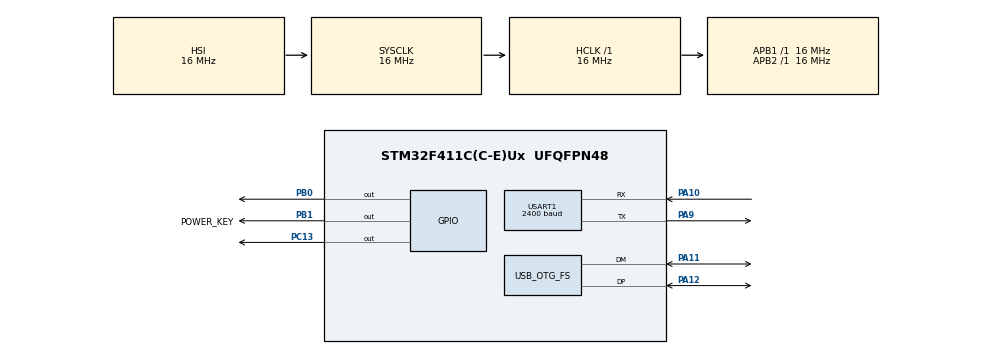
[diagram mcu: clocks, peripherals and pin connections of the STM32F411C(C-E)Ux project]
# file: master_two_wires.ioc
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Mcu.Family=STM32F4
Mcu.Name=STM32F411C(C-E)Ux
Mcu.Package=UFQFPN48
NVIC.FLASH_IRQn=true\:0\:0\:false\:false\:true\:true\:true\:true
NVIC.FPU_IRQn=true\:0\:0\:false\:false\:true\:true\:false\:true
NVIC.OTG_FS_IRQn=true\:0\:0\:false\:false\:true\:false\:true\:true
NVIC.PVD_IRQn=true\:0\:0\:false\:false\:true\:true\:true\:true
NVIC.PriorityGroup=NVIC_PRIORITYGROUP_4
NVIC.RCC_IRQn=true\:0\:0\:false\:false\:true\:true\:false\:true
NVIC.TIM2_IRQn=true\:0\:0\:false\:false\:true\:true\:true\:true
NVIC.USART1_IRQn=true\:2\:0\:true\:false\:true\:true\:true\:true
PA10.Mode=Asynchronous
PA10.Signal=USART1_RX
PA11.Mode=Device_Only
PA11.Signal=USB_OTG_FS_DM
PA12.Mode=Device_Only
PA12.Signal=USB_OTG_FS_DP
PA13.Mode=Serial_Wire
PA13.Signal=SYS_JTMS-SWDIO
PA14.Mode=Serial_Wire
PA14.Signal=SYS_JTCK-SWCLK
PA9.Mode=Asynchronous
PA9.Signal=USART1_TX
PB0.GPIO_ModeDefaultOutputPP=GPIO_MODE_OUTPUT_OD
PB0.GPIO_PuPd=GPIO_NOPULL
PB0.PinState=GPIO_PIN_SET
PB0.Signal=GPIO_Output
PB1.GPIO_Label=POWER_KEY
PB1.Signal=GPIO_Output
PC13-ANTI_TAMP.PinState=GPIO_PIN_RESET
PC13-ANTI_TAMP.Signal=GPIO_Output
PC14-OSC32_IN.Mode=LSE-External-Oscillator
PC14-OSC32_IN.Signal=RCC_OSC32_IN
PC15-OSC32_OUT.Mode=LSE-External-Oscillator
PC15-OSC32_OUT.Signal=RCC_OSC32_OUT
PH0\ -\ OSC_IN.Mode=HSE-External-Oscillator
PH0\ -\ OSC_IN.Signal=RCC_OSC_IN
PH1\ -\ OSC_OUT.Mode=HSE-External-Oscillator
PH1\ -\ OSC_OUT.Signal=RCC_OSC_OUT
ProjectManager.HeapSize=0x200
ProjectManager.StackSize=0x400
ProjectManager.TargetToolchain=STM32CubeIDE
RCC.48MHZClocksFreq_Value=48000000
RCC.AHBFreq_Value=16000000
RCC.APB1Freq_Value=16000000
RCC.APB2Freq_Value=16000000
RCC.CortexFreq_Value=16000000
RCC.HSE_VALUE=25000000
RCC.HSI_VALUE=16000000
RCC.PLLM=15
RCC.PLLN=144
RCC.PLLQ=5
RCC.SYSCLKFreq_VALUE=16000000
RCC.VCOOutputFreq_Value=240000000
TIM2.AutoReloadPreload=TIM_AUTORELOAD_PRELOAD_ENABLE
TIM2.Period=34
TIM2.Prescaler=15
USART1.BaudRate=2400
USART1.VirtualMode=VM_ASYNC
USB_DEVICE.CLASS_NAME_FS=CDC
USB_DEVICE.VirtualMode=Cdc
USB_DEVICE.VirtualModeFS=Cdc_FS
USB_OTG_FS.VirtualMode=Device_Only
VP_TIM2_VS_ClockSourceINT.Mode=Internal
VP_USB_DEVICE_VS_USB_DEVICE_CDC_FS.Mode=CDC_FS
board=custom

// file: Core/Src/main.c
/* USER CODE BEGIN Header */
/**
  ******************************************************************************
  * @file           : main.c
  * @brief          : Main program body
  ******************************************************************************
  * @attention
  *
  * Copyright (c) 2026 STMicroelectronics.
  * All rights reserved.
  *
  * This software is licensed under terms that can be found in the LICENSE file
  * in the root directory of this software component.
  * If no LICENSE file comes with this software, it is provided AS-IS.
  *
  ******************************************************************************
  */
/* USER CODE END Header */
#include "main.h"
#include "usb_device.h"

/* USER CODE BEGIN Includes */
#include <stdint.h>
#include "protocol.h"
#include "comport.h"
#include "ppe3323.h"
#include "power_control.h"
/* USER CODE END Includes */

TIM_HandleTypeDef htim2;

UART_HandleTypeDef huart1;

void SystemClock_Config(void);
static void MX_GPIO_Init(void);
static void MX_TIM2_Init(void);
static void MX_USART1_UART_Init(void);
/* USER CODE BEGIN PFP */
static void process_ppe_command(void);
/* USER CODE END PFP */

/* USER CODE BEGIN 0 */

// ========== Единственный обработчик прерывания таймера 2 ==========
// Вызывается каждые TIMESLOT_US / 2 микросекунд.
// Один логический тайм-слот протокола состоит из двух полутактов таймера.
void HAL_TIM_PeriodElapsedCallback(TIM_HandleTypeDef *htim) {
	protocol_timer_irq_handler(htim);
}

// ========== Завершение неблокирующей передачи PPE-3323 ==========
void HAL_UART_TxCpltCallback(UART_HandleTypeDef *huart)
{
    ppe3323_uart_tx_complete_callback(huart);
}

// ========== Ошибка UART PPE-3323 ==========
void HAL_UART_ErrorCallback(UART_HandleTypeDef *huart)
{
    ppe3323_uart_error_callback(huart);
}

// ========== Обработка подготовленной команды PPE-3323 ==========
static void process_ppe_command(void)
{
	/*
	     * Во время автоматического цикла питания оператор не должен
	     * менять напряжение, ток или состояние OUT1 вручную.
	     *
	     * PPE STATUS остаётся разрешённой командой.
	     */
	    if (power_control_is_automatic_mode() &&
	        (ppe_command_type != PPE_COMMAND_STATUS))
	    {
	        comport_send_response(
	            "PPE: manual control is blocked during automatic power mode\r\n");

	        comport_clear_ppe_command();
	        return;
	    }
    bool accepted = false;

    switch (ppe_command_type)
    {
        case PPE_COMMAND_SET:
            accepted = ppe3323_queue_phase(ppe_command_voltage_v,
                                           ppe_command_current_ma);

            if (accepted)
            {
                comport_send_response(
                    "PPE: phase setup queued: %u V, %u mA\r\n",
                    ppe_command_voltage_v,
                    ppe_command_current_ma);
            }
            break;

        case PPE_COMMAND_ON:
            accepted = ppe3323_queue_output_on();

            if (accepted)
            {
                comport_send_response("PPE: OUT1 queued\r\n");
            }
            break;

        case PPE_COMMAND_OFF:
            accepted = ppe3323_queue_output_off();

            if (accepted)
            {
                comport_send_response("PPE: OUT0 queued\r\n");
            }
            break;

        case PPE_COMMAND_STATUS:
        	comport_send_response("PPE driver state: %s\r\n",
        	                      ppe3323_state_text());

        	comport_send_response("PPE setup sent by UART: %u\r\n",
        	                      ppe3323_has_phase_configuration() ? 1U : 0U);

            comport_clear_ppe_command();
            return;

        case PPE_COMMAND_NONE:
        default:
            break;
    }

    if (!accepted)
    {
        comport_send_response(
            "PPE: command rejected; source busy or not configured\r\n");
    }

    comport_clear_ppe_command();
}
/* USER CODE END 0 */

int main(void)
{

  /* MCU Configuration--------------------------------------------------------*/

  /* Reset of all peripherals, Initializes the Flash interface and the Systick. */
  HAL_Init();

  /* Configure the system clock */
  SystemClock_Config();

  /* Initialize all configured peripherals */
  MX_GPIO_Init();
  MX_TIM2_Init();
  MX_USB_DEVICE_Init();
  MX_USART1_UART_Init();
  /* USER CODE BEGIN 2 */
  //настройка прерываний от таймера
  HAL_NVIC_SetPriority(TIM2_IRQn, 0, 0);
  HAL_NVIC_EnableIRQ(TIM2_IRQn);
  protocol_init();//инициализация протокола

  /*
   * Инициализация драйвера PPE-3323.
   *
   * Сразу подготавливаем OUT0, чтобы после включения ведущего
   * источник был переведён в выключенное состояние.
   */
  ppe3323_init(&huart1);

  /*
   * Инициализация автомата источника.
   *
   * Он самостоятельно поставит OUT0 в очередь, чтобы после запуска
   * ведущего выход PPE-3323 оставался выключенным.
   */
  power_control_init();

  HAL_GPIO_WritePin(GPIOC, GPIO_PIN_13, 1);
  //search_rom_packet_blocking();
  // Тип последнего запущенного пакета нужен только для вывода результата
  static uint8_t active_packet_type = 0xFFU;
  static uint8_t protocol_was_busy = 0U;
  /* USER CODE END 2 */

  /* Infinite loop */
  while (1)
  {

    /* USER CODE BEGIN 3 */
	  /*
	   * Фоновая работа с PPE-3323.
	   *
	   * Функция вызывается даже во время работы протокола,
	   * но сама не блокирует выполнение программы.
	   */
	  power_control_poll();
	    // 1. Если протокол только что завершился – вывести результат
	    if (protocol_was_busy && !protocol_is_busy())
	    {
	        protocol_was_busy = 0U;

	        if (protocol_packet_aborted_by_alarm)
	        {
	            // Пакет был остановлен из-за alarm.
	            // Поэтому не пишем "TX done" или "RX done",
	            // чтобы не создавать ложное впечатление успешного завершения.
	            comport_send_response("PACKET stopped: alarm detected\r\n");
	            protocol_clear_packet_abort_flag();
	        }
	        else if (active_packet_type == PACKET_TYPE_SEARCH)
	        {
	            comport_send_response("SEARCH done\r\n");
	            comport_print_found_roms();

	            /*
	             * После обычного поиска адресов запускаем получение параметров питания.
	             *
	             * Здесь параметры НЕ передаются на ПК.
	             * Мастер только поочерёдно отправляет каждому найденному ведомому
	             * пакет MATCH + PARAMETERS, принимает 10 байт ответа
	             * и сохраняет их во внутренний массив power_params[].
	             */
	            (void)power_params_request_all_async();
	        }
	        else if (active_packet_type == PACKET_TYPE_RX)
	        {
	            comport_send_response("RX done\r\n");
	            comport_print_received_data();
	        }
	        else if (active_packet_type == PACKET_TYPE_TX)
	        {
	            comport_send_response("TX done\r\n");
	        }

	        active_packet_type = 0xFFU;
	    }
		  // 1.1. Фоновая обработка внутренних событий протокола.
		  // Здесь обрабатывается бит прерывания, принятый в завершённом пакете.
		  //
		  // Важно: protocol_poll() ничего не делает, пока протокол занят.
	    // Поэтому обработка прерывания начнётся только после завершения
	    // текущего пользовательского пакета.
	    protocol_poll();
	    // 2. Пока протокол занят, COM-порт не обрабатываем,
	    // чтобы USB не мешал таймингу передачи.
	    if (protocol_is_busy())
	    {
	        continue;
	    }
        /*
         * Ошибка выводится только когда протокол свободен,
         * чтобы USB CDC не влиял на временные интервалы сегментов.
         */
        if (power_control_take_fault_report())
        {
            comport_send_response(
                "POWER: source is not ready; PB1 remains OFF\r\n");
        }
	    // 2.1. Если внутренняя обработка прерывания или alarm завершилась,
	    // выводим результат пользователю через COM-порт.
	    //
	    // Новые устройства добавляются в основной массив found_roms[].
	    // Устройства с прерыванием хранятся в interrupt_roms[].
	    // Устройства с alarm хранятся в alarm_roms[].
	    if (protocol_event_type != PROTOCOL_EVENT_NONE)
	    {
	    	if (protocol_event_type == PROTOCOL_EVENT_NEW_DEVICES)
	    	{
	    	    comport_send_response("INTERRUPT: new device detected\r\n");
	    	    comport_send_response("Updated ROM-search result:\r\n");
	    	    comport_print_found_roms();

	    	    /*
	    	     * После обнаружения новых устройств нужно получить их параметры питания.
	    	     *
	    	     * Функция power_params_request_all_async() проходит по found_roms[]
	    	     * и запрашивает PARAMETERS только у тех адресов,
	    	     * для которых ещё нет актуальной записи в power_params[].
	    	     *
	    	     * Поэтому старые ведомые повторно не опрашиваются,
	    	     * а новое ведомое, добавленное в конец found_roms[],
	    	     * получит параметры в такой же ячейке массива power_params[].
	    	     */
	    	    (void)power_params_request_all_async();
	    	}
	        else if (protocol_event_type == PROTOCOL_EVENT_INTERRUPT_DEVICES)
	        {
	            comport_send_response("INTERRUPT: devices with interrupt flag\r\n");
	            comport_send_response("Interrupt devices: %u\r\n", interrupt_rom_count);

	            // Печатаем адреса из отдельного массива interrupt_roms.
	            // Основной список found_roms при этом не изменяется.
	            for (uint8_t i = 0U; i < interrupt_rom_count; i++)
	            {
	                comport_send_response("INT_ROM[%u]: %02X %02X %02X %02X\r\n",
	                                      i,
	                                      interrupt_roms[i][0],
	                                      interrupt_roms[i][1],
	                                      interrupt_roms[i][2],
	                                      interrupt_roms[i][3]);
	            }
	        }else if (protocol_event_type == PROTOCOL_EVENT_ALARM_DEVICES)
	        {
	            comport_send_response("ALARM: devices with alarm flag\r\n");
	            comport_send_response("Alarm devices: %u\r\n", alarm_rom_count);

	            // Печатаем адреса из отдельного массива alarm_roms.
	            // Основной список found_roms при этом не изменяется.
	            for (uint8_t i = 0U; i < alarm_rom_count; i++)
	            {
	                comport_send_response("ALARM_ROM[%u]: %02X %02X %02X %02X\r\n",
	                                      i,
	                                      alarm_roms[i][0],
	                                      alarm_roms[i][1],
	                                      alarm_roms[i][2],
	                                      alarm_roms[i][3]);
	            }
	        }else if (protocol_event_type == PROTOCOL_EVENT_POWER_PARAMS_READY)
	        {
	            /*
	             * Все RX-пакеты PARAMETERS завершены.
	             * Параметры уже сохранены в power_params[],
	             * теперь их можно вывести на ПК.
	             */
	            comport_print_power_params();
	        }else if (protocol_event_type == PROTOCOL_EVENT_FEED_PLAN_SENT)
	        {
	            /*
	             * Все индивидуальные пакеты FEED_PLAN отправлены ведомым.
	             * На этом этапе план только передан ведомым,
	             * выполнение цикла питания добавим отдельно.
	             */
	            comport_send_response("FEED PLAN sent to devices\r\n");
	        }

	        // После вывода события разрешаем протоколу принимать новые события.
	        protocol_clear_event();
	        /*
	         * Обработка события могла запустить внутренний пакет протокола,
	         * например MATCH + PARAMETERS после обнаружения нового ведомого.
	         * В таком случае COM-порт в этом проходе цикла не обрабатываем,
	         * чтобы не попытаться запустить пользовательскую команду
	         * параллельно с внутренним обменом.
	         */
	        if (protocol_is_busy())
	        {
	            continue;
	        }
	    }

	    // 3. Протокол свободен – можно читать команды из COM-порта
	    comport_poll();
        /*
         * Команда PPE-3323 не является пакетом двухпроводного протокола.
         * Обрабатываем её отдельно.
         */
        if (ppe_command_ready)
        {
            process_ppe_command();

            /*
             * Не запускаем пакет протокола в том же проходе,
             * где была подготовлена команда источнику.
             */
            continue;
        }

        /*
         * Пока вручную отправленная команда PPE-3323 передаётся,
         * запуск нового пакета блокируем.
         *
         * На следующих этапах автоматическое управление источником
         * будет связано с фазой питания иначе.
         */
        if (ppe3323_is_busy())
        {
            continue;
        }
	    // 4. Если из COM-порта подготовлен пакет – запускаем его
	    if (comport_command_ready)
	    {
	        bool started = false;

	        if (packet_type == PACKET_TYPE_TX)
	        {
	            uint8_t *addr_ptr = NULL;
	            uint8_t *data_ptr = NULL;

	            if (rom_cmd == ROM_MATCH_CMD)
	            {
	                addr_ptr = address_arr;
	            }

	            if (data_size > 0U)
	            {
	                data_ptr = data_arr;
	            }

	            started = send_pack_async(rom_cmd,
	                                      func_cmd,
	                                      data_size,
	                                      data_ptr,
	                                      addr_ptr);
	        }
	        else if (packet_type == PACKET_TYPE_RX)
	        {
	            started = receive_pack_async(func_cmd,
	                                         data_size,
	                                         address_arr);
	        }
	        else if (packet_type == PACKET_TYPE_SEARCH)
	        {
	            started = search_rom_packet_async();
	        }

	        if (started)
	        {
	            active_packet_type = packet_type;
	            protocol_was_busy = 1U;
	            comport_clear_command();
	        }
	        else
	        {
	            comport_send_response("Error: protocol did not start\r\n");
	        }
	    }
        /*
         * Когда пользовательский пакет не ожидает запуска,
         * протокол свободен и план питания уже передан ведомым,
         * запускаем очередную фазу автономного цикла питания.
         *
         * Если в COM-порте есть новая команда, она будет обработана
         * раньше следующей фазы, так как comport_poll() вызывается
         * перед этим участком программы.
         */
        if (!comport_command_ready)
        {
            (void)protocol_start_idle_power_cycle();
        }

  }
  /* USER CODE END 3 */
}

void SystemClock_Config(void)
{
  RCC_OscInitTypeDef RCC_OscInitStruct = {0};
  RCC_ClkInitTypeDef RCC_ClkInitStruct = {0};

  /** Configure the main internal regulator output voltage
  */
  __HAL_RCC_PWR_CLK_ENABLE();
  __HAL_PWR_VOLTAGESCALING_CONFIG(PWR_REGULATOR_VOLTAGE_SCALE1);

  /** Initializes the RCC Oscillators according to the specified parameters
  * in the RCC_OscInitTypeDef structure.
  */
  RCC_OscInitStruct.OscillatorType = RCC_OSCILLATORTYPE_HSI|RCC_OSCILLATORTYPE_HSE;
  RCC_OscInitStruct.HSEState = RCC_HSE_ON;
  RCC_OscInitStruct.HSIState = RCC_HSI_ON;
  RCC_OscInitStruct.HSICalibrationValue = RCC_HSICALIBRATION_DEFAULT;
  RCC_OscInitStruct.PLL.PLLState = RCC_PLL_ON;
  RCC_OscInitStruct.PLL.PLLSource = RCC_PLLSOURCE_HSE;
  RCC_OscInitStruct.PLL.PLLM = 15;
  RCC_OscInitStruct.PLL.PLLN = 144;
  RCC_OscInitStruct.PLL.PLLP = RCC_PLLP_DIV2;
  RCC_OscInitStruct.PLL.PLLQ = 5;
  if (HAL_RCC_OscConfig(&RCC_OscInitStruct) != HAL_OK)
  {
    Error_Handler();
  }

  /** Initializes the CPU, AHB and APB buses clocks
  */
  RCC_ClkInitStruct.ClockType = RCC_CLOCKTYPE_HCLK|RCC_CLOCKTYPE_SYSCLK
                              |RCC_CLOCKTYPE_PCLK1|RCC_CLOCKTYPE_PCLK2;
  RCC_ClkInitStruct.SYSCLKSource = RCC_SYSCLKSOURCE_HSI;
  RCC_ClkInitStruct.AHBCLKDivider = RCC_SYSCLK_DIV1;
  RCC_ClkInitStruct.APB1CLKDivider = RCC_HCLK_DIV1;
  RCC_ClkInitStruct.APB2CLKDivider = RCC_HCLK_DIV1;

  if (HAL_RCC_ClockConfig(&RCC_ClkInitStruct, FLASH_LATENCY_0) != HAL_OK)
  {
    Error_Handler();
  }
}

static void MX_TIM2_Init(void)
{

  TIM_ClockConfigTypeDef sClockSourceConfig = {0};
  TIM_MasterConfigTypeDef sMasterConfig = {0};

  htim2.Instance = TIM2;
  htim2.Init.Prescaler = 15;
  htim2.Init.CounterMode = TIM_COUNTERMODE_UP;
  htim2.Init.Period = 34;
  htim2.Init.ClockDivision = TIM_CLOCKDIVISION_DIV1;
  htim2.Init.AutoReloadPreload = TIM_AUTORELOAD_PRELOAD_ENABLE;
  if (HAL_TIM_Base_Init(&htim2) != HAL_OK)
  {
    Error_Handler();
  }
  sClockSourceConfig.ClockSource = TIM_CLOCKSOURCE_INTERNAL;
  if (HAL_TIM_ConfigClockSource(&htim2, &sClockSourceConfig) != HAL_OK)
  {
    Error_Handler();
  }
  sMasterConfig.MasterOutputTrigger = TIM_TRGO_RESET;
  sMasterConfig.MasterSlaveMode = TIM_MASTERSLAVEMODE_DISABLE;
  if (HAL_TIMEx_MasterConfigSynchronization(&htim2, &sMasterConfig) != HAL_OK)
  {
    Error_Handler();
  }

}

static void MX_USART1_UART_Init(void)
{

  huart1.Instance = USART1;
  huart1.Init.BaudRate = 2400;
  huart1.Init.WordLength = UART_WORDLENGTH_8B;
  huart1.Init.StopBits = UART_STOPBITS_1;
  huart1.Init.Parity = UART_PARITY_NONE;
  huart1.Init.Mode = UART_MODE_TX_RX;
  huart1.Init.HwFlowCtl = UART_HWCONTROL_NONE;
  huart1.Init.OverSampling = UART_OVERSAMPLING_16;
  if (HAL_UART_Init(&huart1) != HAL_OK)
  {
    Error_Handler();
  }

}

static void MX_GPIO_Init(void)
{
  GPIO_InitTypeDef GPIO_InitStruct = {0};

  /* GPIO Ports Clock Enable */
  __HAL_RCC_GPIOC_CLK_ENABLE();
  __HAL_RCC_GPIOH_CLK_ENABLE();
  __HAL_RCC_GPIOB_CLK_ENABLE();
  __HAL_RCC_GPIOA_CLK_ENABLE();

  /*Configure GPIO pin Output Level */
  HAL_GPIO_WritePin(GPIOC, GPIO_PIN_13, GPIO_PIN_RESET);

  /*Configure GPIO pin Output Level */
  HAL_GPIO_WritePin(GPIOB, GPIO_PIN_0, GPIO_PIN_SET);

  /*Configure GPIO pin Output Level */
  HAL_GPIO_WritePin(POWER_KEY_GPIO_Port, POWER_KEY_Pin, GPIO_PIN_RESET);

  /*Configure GPIO pin : PC13 */
  GPIO_InitStruct.Pin = GPIO_PIN_13;
  GPIO_InitStruct.Mode = GPIO_MODE_OUTPUT_PP;
  GPIO_InitStruct.Pull = GPIO_NOPULL;
  GPIO_InitStruct.Speed = GPIO_SPEED_FREQ_LOW;
  HAL_GPIO_Init(GPIOC, &GPIO_InitStruct);

  /*Configure GPIO pin : PB0 */
  GPIO_InitStruct.Pin = GPIO_PIN_0;
  GPIO_InitStruct.Mode = GPIO_MODE_OUTPUT_OD;
  GPIO_InitStruct.Pull = GPIO_NOPULL;
  GPIO_InitStruct.Speed = GPIO_SPEED_FREQ_LOW;
  HAL_GPIO_Init(GPIOB, &GPIO_InitStruct);

  /*Configure GPIO pin : POWER_KEY_Pin */
  GPIO_InitStruct.Pin = POWER_KEY_Pin;
  GPIO_InitStruct.Mode = GPIO_MODE_OUTPUT_PP;
  GPIO_InitStruct.Pull = GPIO_NOPULL;
  GPIO_InitStruct.Speed = GPIO_SPEED_FREQ_LOW;
  HAL_GPIO_Init(POWER_KEY_GPIO_Port, &GPIO_InitStruct);

}

void Error_Handler(void)
{
  __disable_irq();
  while (1)
  {
  }
}
